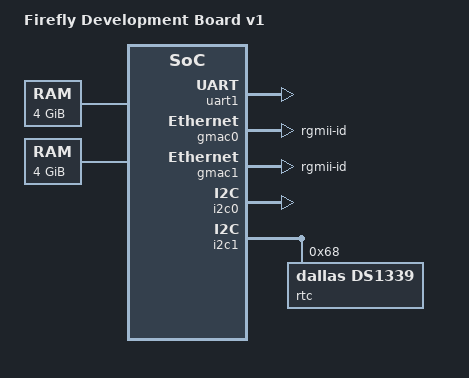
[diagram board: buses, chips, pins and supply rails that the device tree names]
/dts-v1/;
/memreserve/ 0x80000000 0x10000;

#include "firefly_v1.dtsi"

/{
	model = "Firefly Development Board v1";
	compatible = "firefly,dsk_v1";
	#address-cells = <2>;
	#size-cells = <2>;

	chosen {
		stdout-path = "uart1:115200n8";
	};

	memory@0{
		device_type = "memory";
		reg = <0x0 0x80000000 0x1 0x00000000>;
	};

	memory@1{
		device_type = "memory";
		reg = <0x20 0x00000000 0x1 0x00000000>;
	};

	firmware {
		optee {
			compatible = "linaro,optee-tz";
			method = "smc";
		};
	};
};

&uart1 {
	status = "ok";
};

&gmac0 {
	status = "ok";
	phy-mode = "rgmii-id";
};

&gmac1 {
	status = "ok";
	phy-mode = "rgmii-id";
};

&i2c0 {
	status = "ok";
};

&i2c1 {
	status = "ok";
	#address-cells = <1>;
	#size-cells = <0>;

	rtc@68 {
		compatible = "dallas,ds1339";
		reg = <0x68>;
	};
};
